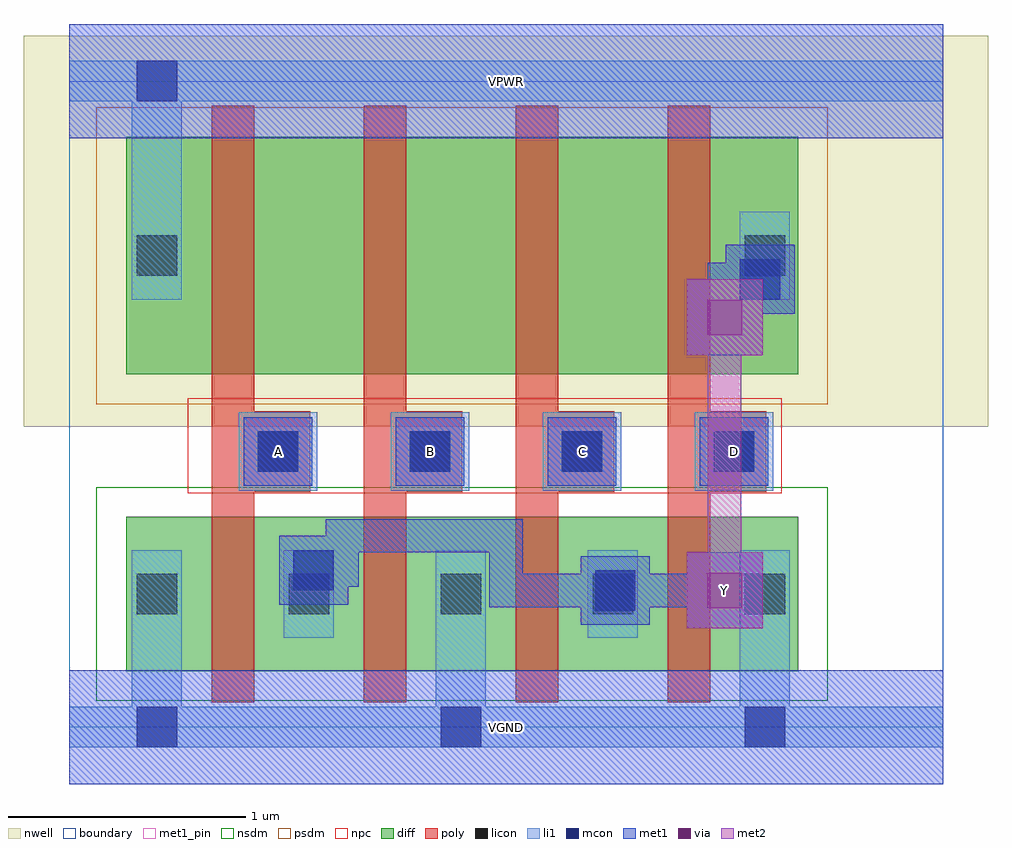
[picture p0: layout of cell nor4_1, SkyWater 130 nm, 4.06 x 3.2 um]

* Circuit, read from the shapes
.subckt nor4_1 A B C D VGND VPWR Y
XM1 Y A VGND VSUBS sky130_fd_pr__nfet_01v8 w=0.65 l=0.18
XM2 VGND B Y VSUBS sky130_fd_pr__nfet_01v8 w=0.65 l=0.18
XM3 Y C VGND VSUBS sky130_fd_pr__nfet_01v8 w=0.65 l=0.18
XM4 VGND D Y VSUBS sky130_fd_pr__nfet_01v8 w=0.65 l=0.18
XM5 n1 A VPWR n2 sky130_fd_pr__pfet_01v8 w=1 l=0.18
XM6 n3 B n1 n2 sky130_fd_pr__pfet_01v8 w=1 l=0.18
XM7 n4 C n3 n2 sky130_fd_pr__pfet_01v8 w=1 l=0.18
XM8 Y D n4 n2 sky130_fd_pr__pfet_01v8 w=1 l=0.18
.ends

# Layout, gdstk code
import gdstk
lib = gdstk.Library(unit=1e-6, precision=1e-09)
def R(c, l, rs):  # rectangles x0, y0, x1, y1
    for r in rs: c.add(gdstk.rectangle(r[:2], r[2:], *l))
def A(c, l, x, y, w, h, nx, ny, dx, dy):  # array of equal rectangles
    R(c, l, [(x+i*dx, y+j*dy, x+i*dx+w, y+j*dy+h) for i in range(nx) for j in range(ny)])
nwell = (64, 20)
diff = (65, 20)
poly = (66, 20)
licon = (66, 44)
li1 = (67, 20)
mcon = (67, 44)
met1_pin = (68, 16)
met1 = (68, 20)
via = (68, 44)
met2 = (69, 20)
nsdm = (93, 44)
psdm = (94, 20)
npc = (95, 20)
boundary = (235, 4)

nor4_1 = lib.new_cell('nor4_1')
R(nor4_1, nwell, [(-0.19,1.265,3.87,2.91), (0,1.265,3.68,2.91)])
R(nor4_1, diff, [(0.24,0.235,3.07,0.885), (0.24,1.485,3.07,2.485)])
A(nor4_1, poly, 0.6, 0.105, 0.18, 2.51, 4, 1, 0.64, 0)
A(nor4_1, poly, 0.6, 0.99, 0.415, 0.34, 4, 1, 0.64, 0)
A(nor4_1, licon, 0.285, 0.475, 0.17, 0.17, 5, 1, 0.64, 0)
A(nor4_1, licon, 0.795, 1.075, 0.17, 0.17, 4, 1, 0.64, 0)
R(nor4_1, licon, [(0.285,1.9,0.455,2.07), (2.845,1.9,3.015,2.07)])
A(nor4_1, li1, 0.265, -0.085, 0.21, 0.83, 3, 1, 1.28, 0)
A(nor4_1, li1, 0.715, 0.995, 0.33, 0.33, 4, 1, 0.64, 0)
R(nor4_1, li1, [(0,-0.085,3.68,0.085), (0.905,0.375,1.115,0.745), (2.185,0.375,2.395,0.745), (0.265,1.8,0.475,2.805), (2.825,1.8,3.035,2.17), (0,2.635,3.68,2.805)])
A(nor4_1, mcon, 0.285, -0.085, 0.17, 0.17, 3, 1, 1.28, 0)
A(nor4_1, mcon, 0.795, 1.075, 0.17, 0.17, 4, 1, 0.64, 0)
R(nor4_1, mcon, [(2.215,0.49,2.385,0.66), (0.945,0.575,1.115,0.745), (2.825,1.8,2.995,1.97), (0.285,2.635,0.455,2.805)])
A(nor4_1, met1_pin, 0.735, 1.015, 0.29, 0.29, 4, 1, 0.64, 0)
R(nor4_1, met1_pin, [(0,-0.24,3.68,0.24), (2.6,0.415,2.92,0.735), (0,2.48,3.68,2.96)])
A(nor4_1, met1, 0.735, 1.015, 0.29, 0.29, 4, 1, 0.64, 0)
R(nor4_1, met1, [(0,-0.24,3.68,0.24), (2.6,0.415,2.92,0.735), (2.155,0.43,2.445,0.72), (1.77,0.505,2.37,0.645), (1.77,0.505,1.91,0.875), (2.23,0.505,2.83,0.645), (0.885,0.515,1.175,0.805), (0.96,0.59,1.22,0.73), (1.08,0.59,1.22,0.875), (1.08,0.735,1.91,0.875), (2.6,1.565,2.92,1.885), (2.69,1.655,2.83,1.955), (2.765,1.74,3.055,2.03), (2.69,1.815,2.98,1.955), (0,2.48,3.68,2.96)])
R(nor4_1, via, [(2.685,0.5,2.835,0.65), (2.685,1.65,2.835,1.8)])
R(nor4_1, met2, [(2.6,0.415,2.92,0.735), (2.69,0.505,2.83,1.795), (2.6,1.565,2.92,1.885)])
R(nor4_1, nsdm, [(0.115,0.11,3.195,1.01)])
R(nor4_1, psdm, [(0.115,1.36,3.195,2.61)])
R(nor4_1, npc, [(0.5,0.985,3,1.385)])
R(nor4_1, boundary, [(0,0,3.68,2.72)])
nor4_1.add(gdstk.Label('A', (0.88,1.16), layer=68, texttype=5))
nor4_1.add(gdstk.Label('B', (1.52,1.16), layer=68, texttype=5))
nor4_1.add(gdstk.Label('C', (2.16,1.16), layer=68, texttype=5))
nor4_1.add(gdstk.Label('D', (2.8,1.16), layer=68, texttype=5))
nor4_1.add(gdstk.Label('Y', (2.76,0.575), layer=68, texttype=5))
nor4_1.add(gdstk.Label('VPWR', (1.84,2.72), layer=68, texttype=5))
nor4_1.add(gdstk.Label('VGND', (1.84,0), layer=68, texttype=5))
nor4_1.add(gdstk.Label('A', (0.88,1.16), layer=68, texttype=16))
nor4_1.add(gdstk.Label('B', (1.52,1.16), layer=68, texttype=16))
nor4_1.add(gdstk.Label('C', (2.16,1.16), layer=68, texttype=16))
nor4_1.add(gdstk.Label('D', (2.8,1.16), layer=68, texttype=16))
nor4_1.add(gdstk.Label('Y', (2.76,0.575), layer=68, texttype=16))
nor4_1.add(gdstk.Label('VPWR', (1.84,2.72), layer=68, texttype=16))
nor4_1.add(gdstk.Label('VGND', (1.84,0), layer=68, texttype=16))

lib.write_gds('nor4_1.gds')
